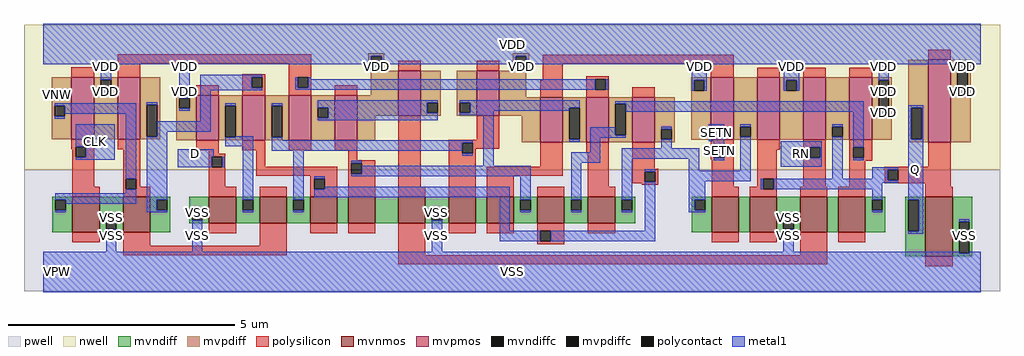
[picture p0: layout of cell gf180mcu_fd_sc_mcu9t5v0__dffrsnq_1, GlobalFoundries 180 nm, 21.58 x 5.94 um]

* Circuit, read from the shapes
.subckt gf180mcu_fd_sc_mcu9t5v0__dffrsnq_1 D RN SETN CLK Q VDD VNW VPW VSS
XM1 VSS CLK n1 VPW nfet_06v0 w=0.79u l=0.6u
XM2 n2 n1 VSS VPW nfet_06v0 w=0.79u l=0.6u
XM3 n3 D VSS VPW nfet_06v0 w=0.59u l=0.6u
XM4 n4 n1 n3 VPW nfet_06v0 w=0.59u l=0.6u
XM5 n5 n2 n4 VPW nfet_06v0 w=0.59u l=0.6u
XM6 n6 n7 n5 VPW nfet_06v0 w=0.59u l=0.6u
XM7 VSS RN n6 VPW nfet_06v0 w=0.59u l=0.6u
XM8 n8 n4 VSS VPW nfet_06v0 w=0.59u l=0.6u
XM9 n7 SETN n8 VPW nfet_06v0 w=0.59u l=0.6u
XM10 n9 n2 n7 VPW nfet_06v0 w=0.59u l=0.6u
XM11 n10 n1 n9 VPW nfet_06v0 w=0.59u l=0.6u
XM12 n11 SETN n10 VPW nfet_06v0 w=0.79u l=0.6u
XM13 VSS n12 n11 VPW nfet_06v0 w=0.79u l=0.6u
XM14 n13 RN VSS VPW nfet_06v0 w=0.79u l=0.6u
XM15 n12 n9 n13 VPW nfet_06v0 w=0.79u l=0.6u
XM16 VSS n12 Q VPW nfet_06v0 w=1.32u l=0.6u
XM17 VDD CLK n1 VNW pfet_06v0 w=1.38u l=0.5u
XM18 n2 n1 VDD VNW pfet_06v0 w=1.38u l=0.5u
XM19 n3 D VDD VNW pfet_06v0 w=1u l=0.5u
XM20 n4 n2 n3 VNW pfet_06v0 w=1u l=0.5u
XM21 n14 n1 n4 VNW pfet_06v0 w=1u l=0.5u
XM22 VDD n7 n14 VNW pfet_06v0 w=1u l=0.5u
XM23 n14 RN VDD VNW pfet_06v0 w=1u l=0.5u
XM24 VDD n4 n7 VNW pfet_06v0 w=1u l=0.5u
XM25 n7 SETN VDD VNW pfet_06v0 w=1u l=0.5u
XM26 n9 n1 n7 VNW pfet_06v0 w=1u l=0.5u
XM27 n10 n2 n9 VNW pfet_06v0 w=1u l=0.5u
XM28 n10 SETN VDD VNW pfet_06v0 w=1.38u l=0.5u
XM29 VDD n12 n10 VNW pfet_06v0 w=1.38u l=0.5u
XM30 n12 RN VDD VNW pfet_06v0 w=1.38u l=0.5u
XM31 VDD n9 n12 VNW pfet_06v0 w=1.38u l=0.5u
XM32 VDD n12 Q VNW pfet_06v0 w=1.83u l=0.5u
.ends

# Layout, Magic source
magic
tech gf180mcuD
magscale 1 10
<< nwell >>
rect -86 453 4230 1094
<< pwell >>
rect -86 -86 4230 453
<< mvnmos >>
rect 128 175 248 333
rect 352 175 472 333
rect 732 215 852 333
rect 956 215 1076 333
rect 1180 215 1300 333
rect 1348 215 1468 333
rect 1568 215 1688 333
rect 1792 215 1912 333
rect 1960 215 2080 333
rect 2184 215 2304 333
rect 2408 215 2528 333
rect 2955 175 3075 333
rect 3123 175 3243 333
rect 3347 175 3467 333
rect 3515 175 3635 333
rect 3900 69 4020 333
<< mvpmos >>
rect 124 586 224 862
rect 328 586 428 862
rect 676 582 776 782
rect 880 582 980 782
rect 1084 582 1184 782
rect 1288 582 1388 782
rect 1568 690 1668 890
rect 1916 690 2016 890
rect 2196 573 2296 773
rect 2400 573 2500 773
rect 2604 573 2704 773
rect 2952 584 3052 860
rect 3156 584 3256 860
rect 3360 584 3460 860
rect 3564 584 3664 860
rect 3912 573 4012 939
<< mvndiff >>
rect 40 320 128 333
rect 40 274 53 320
rect 99 274 128 320
rect 40 175 128 274
rect 248 234 352 333
rect 248 188 277 234
rect 323 188 352 234
rect 248 175 352 188
rect 472 320 560 333
rect 472 274 501 320
rect 547 274 560 320
rect 472 175 560 274
rect 644 274 732 333
rect 644 228 657 274
rect 703 228 732 274
rect 644 215 732 228
rect 852 320 956 333
rect 852 274 881 320
rect 927 274 956 320
rect 852 215 956 274
rect 1076 320 1180 333
rect 1076 274 1105 320
rect 1151 274 1180 320
rect 1076 215 1180 274
rect 1300 215 1348 333
rect 1468 215 1568 333
rect 1688 274 1792 333
rect 1688 228 1717 274
rect 1763 228 1792 274
rect 1688 215 1792 228
rect 1912 215 1960 333
rect 2080 320 2184 333
rect 2080 274 2109 320
rect 2155 274 2184 320
rect 2080 215 2184 274
rect 2304 320 2408 333
rect 2304 274 2333 320
rect 2379 274 2408 320
rect 2304 215 2408 274
rect 2528 320 2616 333
rect 2528 274 2557 320
rect 2603 274 2616 320
rect 2528 215 2616 274
rect 2867 320 2955 333
rect 2867 274 2880 320
rect 2926 274 2955 320
rect 2867 175 2955 274
rect 3075 175 3123 333
rect 3243 234 3347 333
rect 3243 188 3272 234
rect 3318 188 3347 234
rect 3243 175 3347 188
rect 3467 175 3515 333
rect 3635 320 3723 333
rect 3635 274 3664 320
rect 3710 274 3723 320
rect 3635 175 3723 274
rect 3812 320 3900 333
rect 3812 180 3825 320
rect 3871 180 3900 320
rect 3812 69 3900 180
rect 4020 222 4108 333
rect 4020 82 4049 222
rect 4095 82 4108 222
rect 4020 69 4108 82
<< mvpdiff >>
rect 36 735 124 862
rect 36 689 49 735
rect 95 689 124 735
rect 36 586 124 689
rect 224 849 328 862
rect 224 803 253 849
rect 299 803 328 849
rect 224 586 328 803
rect 428 739 516 862
rect 1436 955 1508 968
rect 1436 909 1449 955
rect 1495 909 1508 955
rect 2076 955 2148 968
rect 1436 896 1508 909
rect 1448 890 1508 896
rect 2076 909 2089 955
rect 2135 909 2148 955
rect 2076 896 2148 909
rect 2076 890 2136 896
rect 1448 782 1568 890
rect 428 599 457 739
rect 503 599 516 739
rect 428 586 516 599
rect 588 769 676 782
rect 588 723 601 769
rect 647 723 676 769
rect 588 582 676 723
rect 776 735 880 782
rect 776 595 805 735
rect 851 595 880 735
rect 776 582 880 595
rect 980 735 1084 782
rect 980 595 1009 735
rect 1055 595 1084 735
rect 980 582 1084 595
rect 1184 727 1288 782
rect 1184 681 1213 727
rect 1259 681 1288 727
rect 1184 582 1288 681
rect 1388 690 1568 782
rect 1668 749 1756 890
rect 1668 703 1697 749
rect 1743 703 1756 749
rect 1668 690 1756 703
rect 1828 749 1916 890
rect 1828 703 1841 749
rect 1887 703 1916 749
rect 1828 690 1916 703
rect 2016 773 2136 890
rect 2864 847 2952 860
rect 2864 801 2877 847
rect 2923 801 2952 847
rect 2016 690 2196 773
rect 1388 582 1468 690
rect 2116 573 2196 690
rect 2296 726 2400 773
rect 2296 586 2325 726
rect 2371 586 2400 726
rect 2296 573 2400 586
rect 2500 744 2604 773
rect 2500 604 2529 744
rect 2575 604 2604 744
rect 2500 573 2604 604
rect 2704 632 2792 773
rect 2704 586 2733 632
rect 2779 586 2792 632
rect 2704 573 2792 586
rect 2864 584 2952 801
rect 3052 643 3156 860
rect 3052 597 3081 643
rect 3127 597 3156 643
rect 3052 584 3156 597
rect 3256 847 3360 860
rect 3256 801 3285 847
rect 3331 801 3360 847
rect 3256 584 3360 801
rect 3460 643 3564 860
rect 3460 597 3489 643
rect 3535 597 3564 643
rect 3460 584 3564 597
rect 3664 847 3752 860
rect 3664 707 3693 847
rect 3739 707 3752 847
rect 3664 584 3752 707
rect 3824 726 3912 939
rect 3824 586 3837 726
rect 3883 586 3912 726
rect 3824 573 3912 586
rect 4012 926 4100 939
rect 4012 786 4041 926
rect 4087 786 4100 926
rect 4012 573 4100 786
<< mvndiffc >>
rect 53 274 99 320
rect 277 188 323 234
rect 501 274 547 320
rect 657 228 703 274
rect 881 274 927 320
rect 1105 274 1151 320
rect 1717 228 1763 274
rect 2109 274 2155 320
rect 2333 274 2379 320
rect 2557 274 2603 320
rect 2880 274 2926 320
rect 3272 188 3318 234
rect 3664 274 3710 320
rect 3825 180 3871 320
rect 4049 82 4095 222
<< mvpdiffc >>
rect 49 689 95 735
rect 253 803 299 849
rect 1449 909 1495 955
rect 2089 909 2135 955
rect 457 599 503 739
rect 601 723 647 769
rect 805 595 851 735
rect 1009 595 1055 735
rect 1213 681 1259 727
rect 1697 703 1743 749
rect 1841 703 1887 749
rect 2877 801 2923 847
rect 2325 586 2371 726
rect 2529 604 2575 744
rect 2733 586 2779 632
rect 3081 597 3127 643
rect 3285 801 3331 847
rect 3489 597 3535 643
rect 3693 707 3739 847
rect 3837 586 3883 726
rect 4041 786 4087 926
<< polysilicon >>
rect 328 922 1184 962
rect 124 862 224 906
rect 328 862 428 922
rect 880 861 980 874
rect 676 782 776 826
rect 880 815 921 861
rect 967 815 980 861
rect 880 782 980 815
rect 1084 861 1184 922
rect 1084 815 1125 861
rect 1171 815 1184 861
rect 1568 890 1668 934
rect 1916 890 2016 934
rect 2208 920 3052 960
rect 3912 939 4012 983
rect 1084 782 1184 815
rect 1288 782 1388 826
rect 124 553 224 586
rect 124 542 142 553
rect 128 507 142 542
rect 188 507 224 553
rect 328 542 428 586
rect 2208 847 2296 920
rect 2196 773 2296 847
rect 2400 852 2500 865
rect 2952 860 3052 920
rect 3156 860 3256 904
rect 3360 860 3460 904
rect 3564 860 3664 904
rect 2400 806 2441 852
rect 2487 806 2500 852
rect 2400 773 2500 806
rect 2604 773 2704 817
rect 128 377 224 507
rect 352 412 428 542
rect 676 538 776 582
rect 880 538 980 582
rect 1084 538 1184 582
rect 1288 538 1388 582
rect 128 333 248 377
rect 352 366 365 412
rect 411 377 428 412
rect 732 522 776 538
rect 732 509 804 522
rect 732 463 745 509
rect 791 463 804 509
rect 732 377 804 463
rect 940 465 980 538
rect 1348 493 1388 538
rect 1348 480 1468 493
rect 940 425 1300 465
rect 1180 412 1300 425
rect 411 366 472 377
rect 352 333 472 366
rect 732 333 852 377
rect 956 333 1076 377
rect 1180 366 1197 412
rect 1243 366 1300 412
rect 1180 333 1300 366
rect 1348 434 1361 480
rect 1407 434 1468 480
rect 1348 333 1468 434
rect 1568 377 1668 690
rect 1916 585 2016 690
rect 1792 572 2016 585
rect 1792 526 1853 572
rect 1899 545 2016 572
rect 1899 526 1912 545
rect 1568 333 1688 377
rect 1792 333 1912 526
rect 2196 465 2296 573
rect 2400 529 2500 573
rect 1960 425 2296 465
rect 1960 333 2080 425
rect 2408 377 2500 529
rect 2604 457 2704 573
rect 2952 551 3052 584
rect 2952 505 2965 551
rect 3011 505 3052 551
rect 2952 497 3052 505
rect 2604 444 2718 457
rect 2604 398 2659 444
rect 2705 398 2718 444
rect 2604 393 2718 398
rect 2646 385 2718 393
rect 2955 377 3052 497
rect 3156 540 3256 584
rect 3360 551 3460 584
rect 3156 412 3243 540
rect 3156 377 3184 412
rect 2184 333 2304 377
rect 2408 333 2528 377
rect 2955 333 3075 377
rect 3123 366 3184 377
rect 3230 366 3243 412
rect 3360 505 3390 551
rect 3436 505 3460 551
rect 3360 377 3460 505
rect 3564 551 3664 584
rect 3564 505 3581 551
rect 3627 505 3664 551
rect 3564 492 3664 505
rect 3564 377 3634 492
rect 3912 465 4012 573
rect 3720 452 4012 465
rect 3720 406 3733 452
rect 3779 406 4012 452
rect 3720 393 4012 406
rect 3900 377 4012 393
rect 3123 333 3243 366
rect 3347 333 3467 377
rect 3515 333 3635 377
rect 3900 333 4020 377
rect 128 131 248 175
rect 352 115 472 175
rect 732 171 852 215
rect 956 115 1076 215
rect 1180 171 1300 215
rect 1348 171 1468 215
rect 352 75 1076 115
rect 1568 75 1688 215
rect 1792 171 1912 215
rect 1960 171 2080 215
rect 2184 182 2304 215
rect 2184 136 2197 182
rect 2243 136 2304 182
rect 2408 171 2528 215
rect 2184 123 2304 136
rect 2955 131 3075 175
rect 3123 131 3243 175
rect 3347 75 3467 175
rect 3515 131 3635 175
rect 1568 35 3467 75
rect 3900 25 4020 69
<< polycontact >>
rect 921 815 967 861
rect 1125 815 1171 861
rect 142 507 188 553
rect 2441 806 2487 852
rect 365 366 411 412
rect 745 463 791 509
rect 1197 366 1243 412
rect 1361 434 1407 480
rect 1853 526 1899 572
rect 2965 505 3011 551
rect 2659 398 2705 444
rect 3184 366 3230 412
rect 3390 505 3436 551
rect 3581 505 3627 551
rect 3733 406 3779 452
rect 2197 136 2243 182
<< metal1 >>
rect 0 955 4144 1098
rect 0 918 1449 955
rect 253 849 299 918
rect 253 792 299 803
rect 601 769 647 918
rect 1495 918 2089 955
rect 1449 898 1495 909
rect 2135 926 4144 955
rect 2135 918 4041 926
rect 2089 898 2135 909
rect 49 735 411 746
rect 95 700 411 735
rect 49 678 95 689
rect 142 553 316 654
rect 188 507 316 553
rect 142 496 316 507
rect 365 412 411 700
rect 365 348 411 366
rect 53 320 411 348
rect 99 302 411 320
rect 457 739 503 750
rect 601 712 647 723
rect 693 861 967 872
rect 693 815 921 861
rect 693 804 967 815
rect 1114 815 1125 861
rect 1171 852 1182 861
rect 1171 815 2441 852
rect 1114 806 2441 815
rect 2487 806 2498 852
rect 2866 847 2934 918
rect 693 666 739 804
rect 2866 801 2877 847
rect 2923 801 2934 847
rect 3274 847 3342 918
rect 3274 801 3285 847
rect 3331 801 3342 847
rect 3693 847 3739 918
rect 1213 749 1743 760
rect 503 620 739 666
rect 805 735 851 746
rect 503 599 547 620
rect 457 320 547 599
rect 1009 735 1055 746
rect 851 595 927 601
rect 805 555 927 595
rect 593 509 754 542
rect 593 463 745 509
rect 791 463 802 509
rect 53 263 99 274
rect 457 274 501 320
rect 881 320 927 555
rect 1213 727 1697 749
rect 1259 703 1697 727
rect 1259 681 1743 703
rect 1841 749 2371 760
rect 1887 726 2371 749
rect 1887 714 2325 726
rect 1887 703 1991 714
rect 1841 692 1991 703
rect 1213 670 1743 681
rect 1009 583 1055 595
rect 1009 572 1899 583
rect 1009 537 1853 572
rect 457 263 547 274
rect 657 274 703 285
rect 277 234 323 245
rect 277 90 323 188
rect 881 263 927 274
rect 1105 320 1151 537
rect 1853 515 1899 526
rect 1361 480 1407 491
rect 1945 469 1991 692
rect 2529 744 3627 755
rect 2325 575 2371 586
rect 2417 604 2529 639
rect 2575 709 3627 744
rect 2417 593 2575 604
rect 2733 632 2779 643
rect 2417 529 2463 593
rect 2733 547 2779 586
rect 2942 578 3011 654
rect 2965 551 3011 578
rect 2333 483 2463 529
rect 2557 501 2899 547
rect 1407 434 2155 469
rect 1361 423 2155 434
rect 1197 412 1243 423
rect 1243 366 2063 377
rect 1197 331 2063 366
rect 1105 263 1151 274
rect 1717 274 1763 285
rect 657 90 703 228
rect 1717 90 1763 228
rect 2017 182 2063 331
rect 2109 320 2155 423
rect 2109 263 2155 274
rect 2333 320 2379 483
rect 2333 263 2379 274
rect 2557 320 2603 501
rect 2557 263 2603 274
rect 2659 444 2705 455
rect 2659 182 2705 398
rect 2853 448 2899 501
rect 2965 494 3011 505
rect 3081 643 3127 654
rect 3081 448 3127 597
rect 3489 643 3535 654
rect 3260 551 3442 578
rect 3260 505 3390 551
rect 3436 505 3442 551
rect 3260 466 3442 505
rect 2853 402 3127 448
rect 3489 412 3535 597
rect 3581 551 3627 709
rect 4087 918 4144 926
rect 4041 775 4087 786
rect 3693 696 3739 707
rect 3825 726 3890 737
rect 3581 494 3627 505
rect 3825 586 3837 726
rect 3883 586 3890 726
rect 3664 452 3779 463
rect 3664 412 3733 452
rect 2853 320 2926 402
rect 3173 366 3184 412
rect 3230 406 3733 412
rect 3230 395 3779 406
rect 3230 366 3710 395
rect 2853 274 2880 320
rect 2853 263 2926 274
rect 3664 320 3710 366
rect 3664 263 3710 274
rect 3825 320 3890 586
rect 2017 136 2197 182
rect 2243 136 2705 182
rect 3272 234 3318 245
rect 3272 90 3318 188
rect 3871 180 3890 320
rect 3825 169 3890 180
rect 4049 222 4095 233
rect 0 82 4049 90
rect 4095 82 4144 90
rect 0 -90 4144 82
<< labels >>
flabel metal1 s 142 496 316 654 0 FreeSans 200 0 0 0 CLK
port 4 nsew clock input
flabel metal1 s 593 509 754 542 0 FreeSans 200 0 0 0 D
port 1 nsew default input
flabel metal1 s 3825 169 3890 737 0 FreeSans 200 0 0 0 Q
port 5 nsew default output
flabel metal1 s 3260 466 3442 578 0 FreeSans 200 0 0 0 RN
port 2 nsew default input
flabel metal1 s 2942 578 3011 654 0 FreeSans 200 0 0 0 SETN
port 3 nsew default input
flabel metal1 s 0 918 4144 1098 0 FreeSans 200 0 0 0 VDD
port 6 nsew power bidirectional abutment
flabel metal1 s 1717 245 1763 285 0 FreeSans 200 0 0 0 VSS
port 9 nsew ground bidirectional abutment
flabel nwell s 10 734 110 834 0 FreeSans 400 0 0 0 VNW
port 7 nsew power bidirectional
flabel pwell s 10 -50 110 50 0 FreeSans 400 0 0 0 VPW
port 8 nsew ground bidirectional
rlabel metal1 s 593 463 802 509 1 D
port 1 nsew default input
rlabel metal1 s 2965 494 3011 578 1 SETN
port 3 nsew default input
rlabel metal1 s 4041 898 4087 918 1 VDD
port 6 nsew power bidirectional abutment
rlabel metal1 s 3693 898 3739 918 1 VDD
port 6 nsew power bidirectional abutment
rlabel metal1 s 3274 898 3342 918 1 VDD
port 6 nsew power bidirectional abutment
rlabel metal1 s 2866 898 2934 918 1 VDD
port 6 nsew power bidirectional abutment
rlabel metal1 s 2089 898 2135 918 1 VDD
port 6 nsew power bidirectional abutment
rlabel metal1 s 1449 898 1495 918 1 VDD
port 6 nsew power bidirectional abutment
rlabel metal1 s 601 898 647 918 1 VDD
port 6 nsew power bidirectional abutment
rlabel metal1 s 253 898 299 918 1 VDD
port 6 nsew power bidirectional abutment
rlabel metal1 s 4041 801 4087 898 1 VDD
port 6 nsew power bidirectional abutment
rlabel metal1 s 3693 801 3739 898 1 VDD
port 6 nsew power bidirectional abutment
rlabel metal1 s 3274 801 3342 898 1 VDD
port 6 nsew power bidirectional abutment
rlabel metal1 s 2866 801 2934 898 1 VDD
port 6 nsew power bidirectional abutment
rlabel metal1 s 601 801 647 898 1 VDD
port 6 nsew power bidirectional abutment
rlabel metal1 s 253 801 299 898 1 VDD
port 6 nsew power bidirectional abutment
rlabel metal1 s 4041 792 4087 801 1 VDD
port 6 nsew power bidirectional abutment
rlabel metal1 s 3693 792 3739 801 1 VDD
port 6 nsew power bidirectional abutment
rlabel metal1 s 601 792 647 801 1 VDD
port 6 nsew power bidirectional abutment
rlabel metal1 s 253 792 299 801 1 VDD
port 6 nsew power bidirectional abutment
rlabel metal1 s 4041 775 4087 792 1 VDD
port 6 nsew power bidirectional abutment
rlabel metal1 s 3693 775 3739 792 1 VDD
port 6 nsew power bidirectional abutment
rlabel metal1 s 601 775 647 792 1 VDD
port 6 nsew power bidirectional abutment
rlabel metal1 s 3693 712 3739 775 1 VDD
port 6 nsew power bidirectional abutment
rlabel metal1 s 601 712 647 775 1 VDD
port 6 nsew power bidirectional abutment
rlabel metal1 s 3693 696 3739 712 1 VDD
port 6 nsew power bidirectional abutment
rlabel metal1 s 657 245 703 285 1 VSS
port 9 nsew ground bidirectional abutment
rlabel metal1 s 3272 233 3318 245 1 VSS
port 9 nsew ground bidirectional abutment
rlabel metal1 s 1717 233 1763 245 1 VSS
port 9 nsew ground bidirectional abutment
rlabel metal1 s 657 233 703 245 1 VSS
port 9 nsew ground bidirectional abutment
rlabel metal1 s 277 233 323 245 1 VSS
port 9 nsew ground bidirectional abutment
rlabel metal1 s 4049 90 4095 233 1 VSS
port 9 nsew ground bidirectional abutment
rlabel metal1 s 3272 90 3318 233 1 VSS
port 9 nsew ground bidirectional abutment
rlabel metal1 s 1717 90 1763 233 1 VSS
port 9 nsew ground bidirectional abutment
rlabel metal1 s 657 90 703 233 1 VSS
port 9 nsew ground bidirectional abutment
rlabel metal1 s 277 90 323 233 1 VSS
port 9 nsew ground bidirectional abutment
rlabel metal1 s 0 -90 4144 90 1 VSS
port 9 nsew ground bidirectional abutment
<< properties >>
string FIXED_BBOX 0 0 4144 1008
string GDS_END 643006
string GDS_FILE $PDKPATH/libs.ref/gf180mcu_fd_sc_mcu9t5v0/gds/gf180mcu_fd_sc_mcu9t5v0.gds
string GDS_START 633114
string LEFclass core
string LEFsite GF018hv5v_green_sc9
string LEFsymmetry X Y
<< end >>
